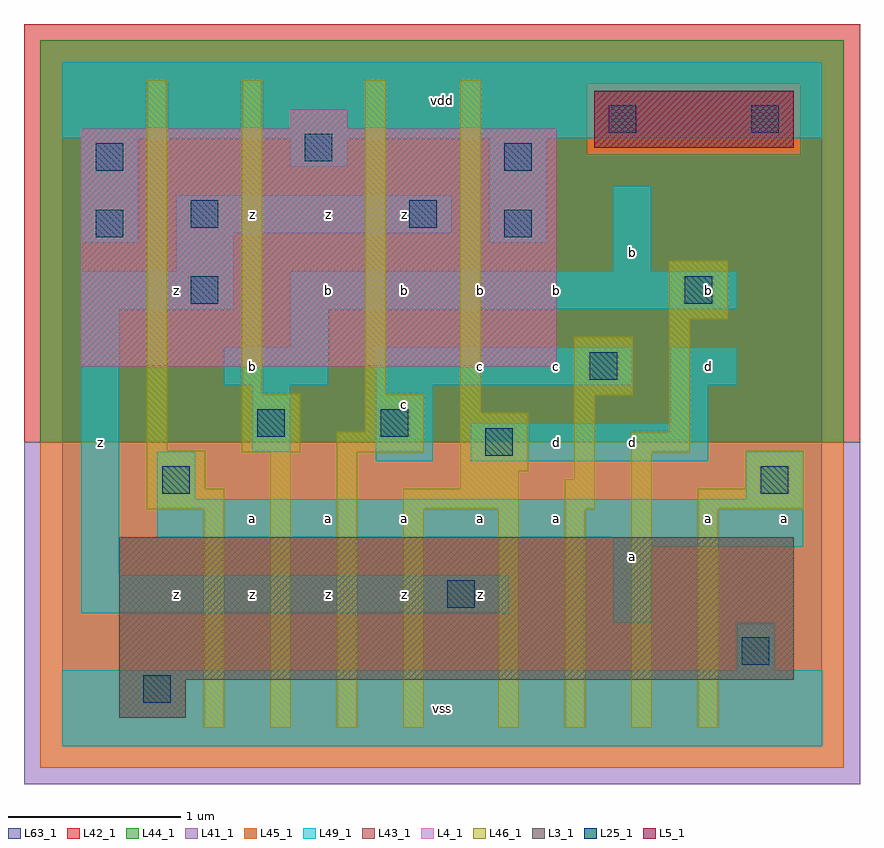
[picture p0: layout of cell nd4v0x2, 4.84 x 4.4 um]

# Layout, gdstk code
import gdstk
lib = gdstk.Library(unit=1e-6, precision=1e-09)
def R(c, l, rs):  # rectangles x0, y0, x1, y1
    for r in rs: c.add(gdstk.rectangle(r[:2], r[2:], *l))
L3_1 = (3, 1)
L4_1 = (4, 1)
L5_1 = (5, 1)
L25_1 = (25, 1)
L41_1 = (41, 1)
L42_1 = (42, 1)
L43_1 = (43, 1)
L44_1 = (44, 1)
L45_1 = (45, 1)
L46_1 = (46, 1)
L49_1 = (49, 1)
L63_1 = (63, 1)

nd4v0x2 = lib.new_cell('nd4v0x2')
R(nd4v0x2, L3_1, [(0.33,0.165,0.715,0.385), (0.33,0.385,4.235,1.21)])
R(nd4v0x2, L4_1, [(0.11,2.2,2.86,3.575), (1.32,3.575,1.65,3.685)])
R(nd4v0x2, L5_1, [(3.08,3.465,4.235,3.795)])
R(nd4v0x2, L25_1, [(0.47,0.25,0.63,0.41), (3.935,0.47,4.095,0.63), (2.23,0.8,2.39,0.96), (0.58,1.46,0.74,1.62), (4.045,1.46,4.205,1.62), (2.45,1.68,2.61,1.84), (1.13,1.79,1.29,1.95), (1.845,1.79,2.005,1.95), (3.055,2.12,3.215,2.28), (0.745,2.56,0.905,2.72), (3.605,2.56,3.765,2.72), (0.195,2.945,0.355,3.105), (2.56,2.945,2.72,3.105), (0.745,3,0.905,3.16), (2.01,3,2.17,3.16), (0.195,3.33,0.355,3.49), (2.56,3.33,2.72,3.49), (1.405,3.385,1.565,3.545), (3.165,3.55,3.325,3.71), (3.99,3.55,4.15,3.71)])
R(nd4v0x2, L41_1, [(-0.22,-0.22,4.62,1.76)])
R(nd4v0x2, L42_1, [(-0.22,1.76,4.62,4.18)])
R(nd4v0x2, L43_1, [(0.33,0.165,0.715,0.385), (0.33,0.385,4.235,1.21), (0.11,2.2,2.86,3.575), (3.08,3.465,4.235,3.795), (1.32,3.575,1.65,3.685)])
R(nd4v0x2, L44_1, [(-0.125,1.76,4.525,3.425), (-0.125,3.425,3.04,3.835), (4.275,3.425,4.525,3.835), (-0.125,3.835,4.525,4.085)])
R(nd4v0x2, L45_1, [(-0.125,-0.125,4.525,1.76), (3.04,3.425,4.275,3.835)])
R(nd4v0x2, L46_1, [(0.82,0.105,0.94,1.37), (1.205,0.105,1.325,1.7), (1.59,0.105,1.71,1.7), (1.975,0.105,2.095,1.37), (2.525,0.105,2.645,1.37), (2.91,0.105,3.03,1.37), (3.295,0.105,3.415,1.7), (3.68,0.105,3.8,1.37), (0.49,1.37,0.94,1.49), (1.975,1.37,2.645,1.49), (2.91,1.37,3.085,1.545), (3.68,1.37,4.295,1.49), (0.49,1.49,0.83,1.71), (2.305,1.49,2.645,1.59), (3.955,1.49,4.295,1.71), (2.965,1.545,3.085,2.03), (2.305,1.59,2.7,1.93), (1.04,1.7,1.38,2.04), (1.59,1.7,2.095,1.82), (3.295,1.7,3.635,1.82), (0.49,1.71,0.61,3.855), (1.755,1.82,2.095,2.04), (3.515,1.82,3.635,2.47), (2.305,1.93,2.425,3.855), (2.965,2.03,3.305,2.37), (1.04,2.04,1.16,3.855), (1.755,2.04,1.875,3.855), (3.515,2.47,3.855,2.81)])
R(nd4v0x2, L49_1, [(0,0,4.4,0.44), (3.905,0.44,4.125,0.715), (3.19,0.715,3.41,1.155), (0.11,0.77,2.585,0.99), (0.11,0.99,0.33,2.53), (3.19,1.155,4.29,1.21), (0.55,1.21,4.29,1.43), (0.55,1.43,0.77,1.705), (3.96,1.43,4.29,1.705), (1.815,1.65,2.145,2.09), (2.365,1.65,3.74,1.87), (1.1,1.705,1.32,2.09), (3.52,1.87,3.74,2.09), (0.935,2.09,1.54,2.31), (1.815,2.09,3.3,2.31), (3.52,2.09,3.905,2.31), (1.32,2.31,1.54,2.53), (0.11,2.53,0.99,2.75), (1.32,2.53,3.905,2.75), (0.66,2.75,0.99,2.97), (3.19,2.75,3.41,3.245), (0.11,2.915,0.44,3.52), (2.475,2.915,2.805,3.52), (0.66,2.97,2.255,3.19), (1.32,3.355,1.65,3.52), (0,3.52,4.4,3.96)])
R(nd4v0x2, L63_1, [(0,0,4.4,3.96)])
nd4v0x2.add(gdstk.Label('z', (0.22,1.76), layer=49, texttype=1))
nd4v0x2.add(gdstk.Label('z', (1.1,0.88), layer=49, texttype=1))
nd4v0x2.add(gdstk.Label('z', (1.54,0.88), layer=49, texttype=1))
nd4v0x2.add(gdstk.Label('z', (0.66,0.88), layer=49, texttype=1))
nd4v0x2.add(gdstk.Label('a', (1.1,1.32), layer=49, texttype=1))
nd4v0x2.add(gdstk.Label('a', (1.54,1.32), layer=49, texttype=1))
nd4v0x2.add(gdstk.Label('b', (1.1,2.2), layer=49, texttype=1))
nd4v0x2.add(gdstk.Label('z', (0.66,2.64), layer=49, texttype=1))
nd4v0x2.add(gdstk.Label('b', (1.54,2.64), layer=49, texttype=1))
nd4v0x2.add(gdstk.Label('z', (1.1,3.08), layer=49, texttype=1))
nd4v0x2.add(gdstk.Label('z', (1.54,3.08), layer=49, texttype=1))
nd4v0x2.add(gdstk.Label('vss', (2.2,0.22), layer=49, texttype=1))
nd4v0x2.add(gdstk.Label('z', (1.98,0.88), layer=49, texttype=1))
nd4v0x2.add(gdstk.Label('z', (2.42,0.88), layer=49, texttype=1))
nd4v0x2.add(gdstk.Label('a', (1.98,1.32), layer=49, texttype=1))
nd4v0x2.add(gdstk.Label('a', (2.42,1.32), layer=49, texttype=1))
nd4v0x2.add(gdstk.Label('c', (2.42,2.2), layer=49, texttype=1))
nd4v0x2.add(gdstk.Label('c', (1.98,1.98), layer=49, texttype=1))
nd4v0x2.add(gdstk.Label('b', (1.98,2.64), layer=49, texttype=1))
nd4v0x2.add(gdstk.Label('b', (2.42,2.64), layer=49, texttype=1))
nd4v0x2.add(gdstk.Label('z', (1.98,3.08), layer=49, texttype=1))
nd4v0x2.add(gdstk.Label('vdd', (2.2,3.74), layer=49, texttype=1))
nd4v0x2.add(gdstk.Label('a', (2.86,1.32), layer=49, texttype=1))
nd4v0x2.add(gdstk.Label('a', (3.3,1.1), layer=49, texttype=1))
nd4v0x2.add(gdstk.Label('d', (3.3,1.76), layer=49, texttype=1))
nd4v0x2.add(gdstk.Label('d', (2.86,1.76), layer=49, texttype=1))
nd4v0x2.add(gdstk.Label('c', (2.86,2.2), layer=49, texttype=1))
nd4v0x2.add(gdstk.Label('b', (2.86,2.64), layer=49, texttype=1))
nd4v0x2.add(gdstk.Label('b', (3.3,2.86), layer=49, texttype=1))
nd4v0x2.add(gdstk.Label('a', (3.74,1.32), layer=49, texttype=1))
nd4v0x2.add(gdstk.Label('a', (4.18,1.32), layer=49, texttype=1))
nd4v0x2.add(gdstk.Label('d', (3.74,2.2), layer=49, texttype=1))
nd4v0x2.add(gdstk.Label('b', (3.74,2.64), layer=49, texttype=1))

lib.write_gds('nd4v0x2.gds')
